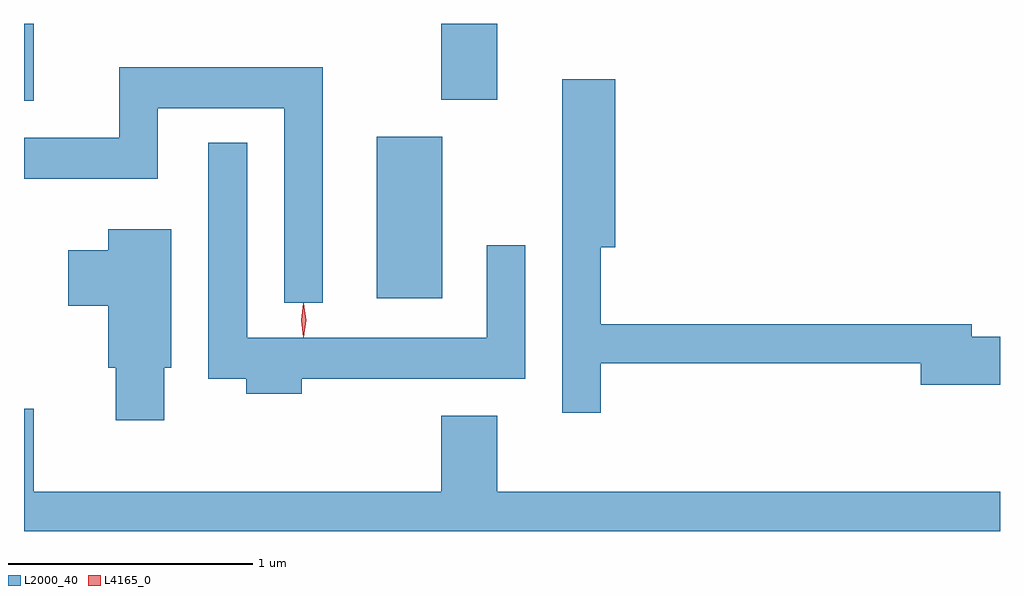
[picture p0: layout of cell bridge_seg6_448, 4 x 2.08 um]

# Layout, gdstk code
import gdstk
lib = gdstk.Library(unit=1e-6, precision=1e-09)
def R(c, l, rs):  # rectangles x0, y0, x1, y1
    for r in rs: c.add(gdstk.rectangle(r[:2], r[2:], *l))
def P(c, l, *ps):  # polygons
    for p in ps: c.add(gdstk.Polygon(p, *l))
L2000_40 = (2000, 40)
L4165_0 = (4165, 0)

bridge_seg6_448 = lib.new_cell('bridge_seg6_448')
R(bridge_seg6_448, L2000_40, [(706.616,1531.116,706.884,1531.779), (705.17,1531.926,705.209,1532.241), (706.881,1531.931,707.109,1532.241)])
P(bridge_seg6_448, L2000_40, [(706.394,1532.064),(705.561,1532.064),(705.561,1531.774),(705.17,1531.774),(705.17,1531.606),(705.719,1531.606),(705.719,1531.896),(706.236,1531.896),(706.236,1531.098),(706.394,1531.098)],
  [(707.534,1530.851),(708.846,1530.851),(708.846,1530.761),(709.17,1530.761),(709.17,1530.959),(709.054,1530.959),(709.054,1531.009),(707.534,1531.009),(707.534,1531.326),(707.594,1531.326),(707.594,1532.014),(707.376,1532.014),(707.376,1530.648),(707.534,1530.648)],
  [(706.309,1530.786),(707.224,1530.786),(707.224,1531.333),(707.066,1531.333),(707.066,1530.954),(706.084,1530.954),(706.084,1531.753),(705.926,1531.753),(705.926,1530.786),(706.081,1530.786),(706.081,1530.726),(706.309,1530.726)],
  [(705.744,1530.831),(705.774,1530.831),(705.774,1531.399),(705.516,1531.399),(705.516,1531.314),(705.351,1531.314),(705.351,1531.086),(705.516,1531.086),(705.516,1530.831),(705.546,1530.831),(705.546,1530.616),(705.744,1530.616)],
  [(709.17,1530.324),(707.109,1530.324),(707.109,1530.634),(706.881,1530.634),(706.881,1530.324),(705.209,1530.324),(705.209,1530.664),(705.17,1530.664),(705.17,1530.162),(709.17,1530.162)])
P(bridge_seg6_448, L4165_0, [(706.316,1530.959),(706.316,1530.96),(706.306,1531.026),(706.315,1531.092),(706.316,1531.093),(706.316,1531.092),(706.326,1531.026),(706.316,1530.96)],
  [(706.315,1530.957),(706.306,1531.027),(706.315,1531.096),(706.316,1531.096),(706.316,1531.096),(706.326,1531.027),(706.316,1530.957),(706.316,1530.957)])

lib.write_gds('bridge_seg6_448.gds')
